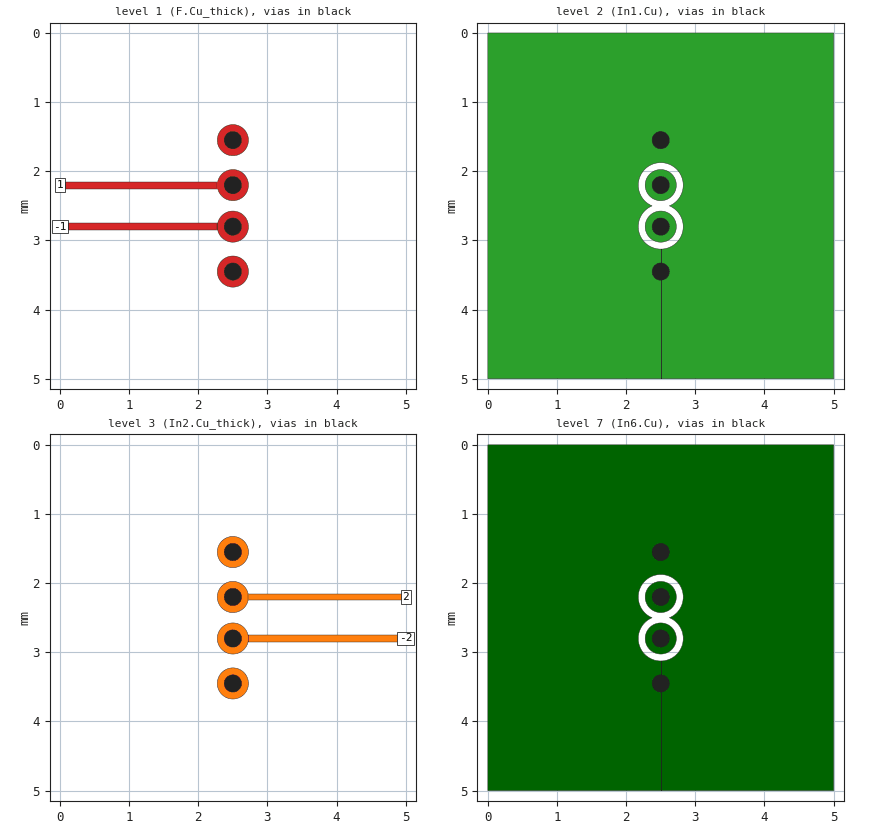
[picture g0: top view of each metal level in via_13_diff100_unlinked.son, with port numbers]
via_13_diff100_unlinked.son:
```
FTYP SONPROJ 19 ! Sonnet Project File
VER 18.52
HEADER
LIC antikernel2.1.51176
DAT 02/26/2022 12:10:18
BUILT_BY_CREATED xgeom 18.52 11/18/2021 20:28:07
BUILT_BY_SAVED sonnet 18.52
MDATE 02/26/2022 12:10:18
HDATE 02/26/2022 12:10:18
END HEADER
DIM
ANG DEG
CAP PF
CON /OH
FREQ GHZ
IND NH
LNG MM
RES OH
END DIM
CONTROL
VARSWP
OPTIONS  -dj
SPEED 1
CACHE_ABS 2
Q_ACC N
END CONTROL
GEO
DRP1 LEFT LINK
POLY 357 1
0
DRP1 RIGHT LINK
POLY 361 1
0
TMET "Free Space" 0 FREESPACE 376.7303136 0 0 0
BMET "Free Space" 0 FREESPACE 376.7303136 0 0 0
MET "Copper_1oz_thin" 1 NOR 58000000 0.5 0.035 
MET "Copper_1oz_thick" 2 TMM 58000000 0.5 0.035 2
MET "Copper_1oz_thick_down" 3 TMM 58000000 0.5 0.035 2 CDVY TDWN
MET "Copper_0.5oz_thin" 4 NOR 58000000 0.5 0.017 
MET "Copper_0.5oz_thick" 12 TMM 58000000 0.5 0.017 2
MET "Copper_0.5oz_thick_down" 5 TMM 58000000 0.5 0.017 2 CDVY TDWN
BOX 10 5 5 1000 1000 20 0
      5 1 1 0 0 0 0 "Air"
      0.04 3.5 1 0.025 0 0 0 "Soldermask"
      0.075 3.9 1 0.008 0 0 0 "TU-872_SLK"
      0.1 3.9 1 0.008 0 0 0 "TU-872_SLK"
      0.143 3.9 1 0.008 0 0 0 "TU-872_SLK"
      0.7 4.49 1 0.016 0 0 0 "Shengyi_S1000-2M"
      0.143 3.9 1 0.008 0 0 0 "TU-872_SLK"
      0.1 3.9 1 0.008 0 0 0 "TU-872_SLK"
      0.075 3.9 1 0.008 0 0 0 "TU-872_SLK"
      0.04 3.5 1 0.025 0 0 0 "Soldermask"
      5 1 1 0 0 0 0 "Air"
TECHLAY METAL F.Cu_thin <UNSPECIFIED> -1 0 CAD F.Cu_thin drawing 
1 0 0 N 557 1 1 100 100 0 0 0 Y
END
END
TECHLAY METAL F.Cu_thick <UNSPECIFIED> -2 0 CAD F.Cu_thick drawing 
1 0 1 N 559 1 1 100 100 0 0 0 Y
END
END
TECHLAY VIA Via1 <UNSPECIFIED> -13 0 CAD Via1 drawing 
VIA POLYGON
1 0 -1 N 563 1 1 100 100 0 0 0 Y
TOLEVEL 8 RING NOCOVERS
END
END
TECHLAY METAL In1.Cu <UNSPECIFIED> -3 0 CAD In1.Cu drawing 
2 0 0 N 566 1 1 100 100 0 0 0 Y
END
END
TECHLAY METAL In2.Cu_thin <UNSPECIFIED> -4 0 CAD In2.Cu drawing 
3 0 3 N 569 1 1 100 100 0 0 0 Y
END
END
TECHLAY METAL In2.Cu_thick <UNSPECIFIED> -5 0 CAD In2.Cu_thick drawing 
3 0 4 N 571 1 1 100 100 0 0 0 Y
END
END
TECHLAY METAL In3.Cu <UNSPECIFIED> -6 0 CAD In3.Cu drawing 
4 0 0 N 576 1 1 100 100 0 0 0 Y
END
END
TECHLAY METAL In4.Cu <UNSPECIFIED> -7 0 CAD In4.Cu drawing 
5 0 0 N 581 1 1 100 100 0 0 0 Y
END
END
TECHLAY METAL In5.Cu_thin <UNSPECIFIED> -8 0 CAD In5.Cu drawing 
6 0 3 N 584 1 1 100 100 0 0 0 Y
END
END
TECHLAY METAL In5.Cu_thick <UNSPECIFIED> -9 0 CAD In5.Cu_thick drawing 
6 0 5 N 586 1 1 100 100 0 0 0 Y
END
END
TECHLAY METAL In6.Cu <UNSPECIFIED> -10 0 CAD In6.Cu drawing 
7 0 0 N 589 1 1 100 100 0 0 0 Y
END
END
TECHLAY METAL B.Cu_thin <UNSPECIFIED> -11 0 CAD B.Cu_thin drawing 
8 0 0 N 592 1 1 100 100 0 0 0 Y
END
END
TECHLAY METAL B.Cu_thick <UNSPECIFIED> -12 0 CAD B.Cu_thick drawing 
8 0 2 N 594 1 1 100 100 0 0 0 Y
END
END
VALVAR CORE_ER NONE "table1(\"core_er.csv\",FREQ)" "Variable set in material file"
VALVAR CORE_DF NONE "table1(\"core_df.csv\",FREQ)" "Variable set in material file"
VALVAR PREPREG_DF NONE "table1(\"prepreg_df.csv\",FREQ)" "Variable set in material file"
VALVAR PREPREG_ER NONE "table1(\"prepreg_er.csv\",FREQ)" "Variable set in material file"
DIM STD YDIR 1
POS -0.07303945927 0.352744628
NOM 0.5
REF1 POLY 201 1
2
REF2 POLY 461 1
2
END
DIM STD YDIR 1
POS -0.1576084171 0.3411855772
NOM 0.7
REF1 POLY 201 1
1
REF2 POLY 461 1
1
END
LORGN 0 5 U 
POR1 BOX
POLY 357 1
2
1 100 0 0 0 0 2.2 
POR1 BOX
POLY 456 1
2
-1 100 0 0 0 0 2.8 
POR1 BOX
POLY 468 1
2
-2 100 0 0 0 5 2.8 
POR1 BOX
POLY 361 1
2
2 100 0 0 0 5 2.2 
NUM 26
1 102 1 N 237 1 1 100 100 0 0 0 Y
TLAYNAM F.Cu_thick INH
2.725 2.20707091
2.724112028 2.221184824
2.722339588 2.235215131
2.719689675 2.24910646
2.716172747 2.262803989
2.711802685 2.276253659
2.706596734 2.28940239
2.70057544 2.302198291
2.693762566 2.314590862
2.686185 2.326531196
2.677872647 2.337972168
2.668858312 2.348868627
2.65917757 2.35917757
2.648868627 2.368858312
2.637972168 2.377872647
2.626531196 2.386185
2.614590862 2.393762566
2.602198291 2.40057544
2.58940239 2.406596734
2.576253659 2.411802685
2.562803989 2.416172747
2.54910646 2.419689675
2.535215131 2.422339588
2.521184824 2.424112028
2.50707091 2.425
2.49292909 2.425
2.478815176 2.424112028
2.464784869 2.422339588
2.45089354 2.419689675
2.437196011 2.416172747
2.423746341 2.411802685
2.41059761 2.406596734
2.397801709 2.40057544
2.385409138 2.393762566
2.373468804 2.386185
2.362027832 2.377872647
2.351131373 2.368858312
2.34082243 2.35917757
2.331141688 2.348868627
2.322127353 2.337972168
2.313815 2.326531196
2.306237434 2.314590862
2.29942456 2.302198291
2.293403266 2.28940239
2.288197315 2.276253659
2.283827253 2.262803989
2.280310325 2.24910646
2.277660412 2.235215131
2.275887972 2.221184824
2.275 2.20707091
2.275 2.19292909
2.275887972 2.178815176
2.277660412 2.164784869
2.280310325 2.15089354
2.283827253 2.137196011
2.288197315 2.123746341
2.293403266 2.11059761
2.29942456 2.097801709
2.306237434 2.085409138
2.313815 2.073468804
2.322127353 2.062027832
2.331141688 2.051131373
2.34082243 2.04082243
2.351131373 2.031141688
2.362027832 2.022127353
2.373468804 2.013815
2.385409138 2.006237434
2.397801709 1.99942456
2.41059761 1.993403266
2.423746341 1.988197315
2.437196011 1.983827253
2.45089354 1.980310325
2.464784869 1.977660412
2.478815176 1.975887972
2.49292909 1.975
2.50707091 1.975
2.521184824 1.975887972
2.535215131 1.977660412
2.54910646 1.980310325
2.562803989 1.983827253
2.576253659 1.988197315
2.58940239 1.993403266
2.602198291 1.99942456
2.614590862 2.006237434
2.626531196 2.013815
2.637972168 2.022127353
2.648868627 2.031141688
2.65917757 2.04082243
2.668858312 2.051131373
2.677872647 2.062027832
2.686185 2.073468804
2.693762566 2.085409138
2.70057544 2.097801709
2.706596734 2.11059761
2.711802685 2.123746341
2.716172747 2.137196011
2.719689675 2.15089354
2.722339588 2.164784869
2.724112028 2.178815176
2.725 2.19292909
2.725 2.20707091
2.725 2.20707091
END
1 5 1 N 357 1 1 100 100 0 0 0 Y
TLAYNAM F.Cu_thick INH
2.275 2.25
2.275 2.15
0 2.15
0 2.25
2.275 2.25
END
1 5 1 N 461 1 1 100 100 0 0 0 Y
TLAYNAM F.Cu_thick INH
2.275 2.85
2.36 2.85
2.36 2.75
2.275 2.75
2.275 2.85
END
1 102 1 N 460 1 1 100 100 0 0 0 Y
TLAYNAM F.Cu_thick INH
2.725 3.442929
2.724112 3.428815
2.72234 3.414785
2.71969 3.400894
2.716173 3.387196
2.711803 3.373746
2.706597 3.360598
2.700575 3.347802
2.693763 3.335409
2.686185 3.323469
2.677873 3.312028
2.668858 3.301131
2.659178 3.290822
2.648869 3.281142
2.637972 3.272127
2.626531 3.263815
2.614591 3.256237
2.602198 3.249425
2.589402 3.243403
2.576254 3.238197
2.562804 3.233827
2.549106 3.23031
2.535215 3.22766
2.521185 3.225888
2.507071 3.225
2.492929 3.225
2.478815 3.225888
2.464785 3.22766
2.450894 3.23031
2.437196 3.233827
2.423746 3.238197
2.410598 3.243403
2.397802 3.249425
2.385409 3.256237
2.373469 3.263815
2.362028 3.272127
2.351131 3.281142
2.340822 3.290822
2.331142 3.301131
2.322127 3.312028
2.313815 3.323469
2.306237 3.335409
2.299425 3.347802
2.293403 3.360598
2.288197 3.373746
2.283827 3.387196
2.28031 3.400894
2.27766 3.414785
2.275888 3.428815
2.275 3.442929
2.275 3.457071
2.275888 3.471185
2.27766 3.485215
2.28031 3.499106
2.283827 3.512804
2.288197 3.526254
2.293403 3.539402
2.299425 3.552198
2.306237 3.564591
2.313815 3.576531
2.322127 3.587972
2.331142 3.598869
2.340822 3.609178
2.351131 3.618858
2.362028 3.627873
2.373469 3.636185
2.385409 3.643763
2.397802 3.650575
2.410598 3.656597
2.423746 3.661803
2.437196 3.666173
2.450894 3.66969
2.464785 3.67234
2.478815 3.674112
2.492929 3.675
2.507071 3.675
2.521185 3.674112
2.535215 3.67234
2.549106 3.66969
2.562804 3.666173
2.576254 3.661803
2.589402 3.656597
2.602198 3.650575
2.614591 3.643763
2.626531 3.636185
2.637972 3.627873
2.648869 3.618858
2.659178 3.609178
2.668858 3.598869
2.677873 3.587972
2.686185 3.576531
2.693763 3.564591
2.700575 3.552198
2.706597 3.539402
2.711803 3.526254
2.716173 3.512804
2.71969 3.499106
2.72234 3.485215
2.724112 3.471185
2.725 3.457071
2.725 3.442929
2.725 3.442929
END
1 5 1 N 201 1 1 100 100 0 0 0 Y
TLAYNAM F.Cu_thick INH
2.275 2.15
2.36 2.15
2.36 2.25
2.275 2.25
2.275 2.15
END
1 102 1 N 457 1 1 100 100 0 0 0 Y
TLAYNAM F.Cu_thick INH
2.725 2.792929
2.724112 2.778815
2.72234 2.764785
2.71969 2.750894
2.716173 2.737196
2.711803 2.723746
2.706597 2.710598
2.700575 2.697802
2.693763 2.685409
2.686185 2.673469
2.677873 2.662028
2.668858 2.651131
2.659178 2.640822
2.648869 2.631142
2.637972 2.622127
2.626531 2.613815
2.614591 2.606237
2.602198 2.599425
2.589402 2.593403
2.576254 2.588197
2.562804 2.583827
2.549106 2.58031
2.535215 2.57766
2.521185 2.575888
2.507071 2.575
2.492929 2.575
2.478815 2.575888
2.464785 2.57766
2.450894 2.58031
2.437196 2.583827
2.423746 2.588197
2.410598 2.593403
2.397802 2.599425
2.385409 2.606237
2.373469 2.613815
2.362028 2.622127
2.351131 2.631142
2.340822 2.640822
2.331142 2.651131
2.322127 2.662028
2.313815 2.673469
2.306237 2.685409
2.299425 2.697802
2.293403 2.710598
2.288197 2.723746
2.283827 2.737196
2.28031 2.750894
2.27766 2.764785
2.275888 2.778815
2.275 2.792929
2.275 2.807071
2.275888 2.821185
2.27766 2.835215
2.28031 2.849106
2.283827 2.862804
2.288197 2.876254
2.293403 2.889402
2.299425 2.902198
2.306237 2.914591
2.313815 2.926531
2.322127 2.937972
2.331142 2.948869
2.340822 2.959178
2.351131 2.968858
2.362028 2.977873
2.373469 2.986185
2.385409 2.993763
2.397802 3.000575
2.410598 3.006597
2.423746 3.011803
2.437196 3.016173
2.450894 3.01969
2.464785 3.02234
2.478815 3.024112
2.492929 3.025
2.507071 3.025
2.521185 3.024112
2.535215 3.02234
2.549106 3.01969
2.562804 3.016173
2.576254 3.011803
2.589402 3.006597
2.602198 3.000575
2.614591 2.993763
2.626531 2.986185
2.637972 2.977873
2.648869 2.968858
2.659178 2.959178
2.668858 2.948869
2.677873 2.937972
2.686185 2.926531
2.693763 2.914591
2.700575 2.902198
2.706597 2.889402
2.711803 2.876254
2.716173 2.862804
2.71969 2.849106
2.72234 2.835215
2.724112 2.821185
2.725 2.807071
2.725 2.792929
2.725 2.792929
END
1 102 1 N 385 1 1 100 100 0 0 0 Y
TLAYNAM F.Cu_thick INH
2.725 1.55707091
2.724112028 1.571184824
2.722339588 1.585215131
2.719689675 1.59910646
2.716172747 1.612803989
2.711802685 1.626253659
2.706596734 1.63940239
2.70057544 1.652198291
2.693762566 1.664590862
2.686185 1.676531196
2.677872647 1.687972168
2.668858312 1.698868627
2.65917757 1.70917757
2.648868627 1.718858312
2.637972168 1.727872647
2.626531196 1.736185
2.614590862 1.743762566
2.602198291 1.75057544
2.58940239 1.756596734
2.576253659 1.761802685
2.562803989 1.766172747
2.54910646 1.769689675
2.535215131 1.772339588
2.521184824 1.774112028
2.50707091 1.775
2.49292909 1.775
2.478815176 1.774112028
2.464784869 1.772339588
2.45089354 1.769689675
2.437196011 1.766172747
2.423746341 1.761802685
2.41059761 1.756596734
2.397801709 1.75057544
2.385409138 1.743762566
2.373468804 1.736185
2.362027832 1.727872647
2.351131373 1.718858312
2.34082243 1.70917757
2.331141688 1.698868627
2.322127353 1.687972168
2.313815 1.676531196
2.306237434 1.664590862
2.29942456 1.652198291
2.293403266 1.63940239
2.288197315 1.626253659
2.283827253 1.612803989
2.280310325 1.59910646
2.277660412 1.585215131
2.275887972 1.571184824
2.275 1.55707091
2.275 1.54292909
2.275887972 1.528815176
2.277660412 1.514784869
2.280310325 1.50089354
2.283827253 1.487196011
2.288197315 1.473746341
2.293403266 1.46059761
2.29942456 1.447801709
2.306237434 1.435409138
2.313815 1.423468804
2.322127353 1.412027832
2.331141688 1.401131373
2.34082243 1.39082243
2.351131373 1.381141688
2.362027832 1.372127353
2.373468804 1.363815
2.385409138 1.356237434
2.397801709 1.34942456
2.41059761 1.343403266
2.423746341 1.338197315
2.437196011 1.333827253
2.45089354 1.330310325
2.464784869 1.327660412
2.478815176 1.325887972
2.49292909 1.325
2.50707091 1.325
2.521184824 1.325887972
2.535215131 1.327660412
2.54910646 1.330310325
2.562803989 1.333827253
2.576253659 1.338197315
2.58940239 1.343403266
2.602198291 1.34942456
2.614590862 1.356237434
2.626531196 1.363815
2.637972168 1.372127353
2.648868627 1.381141688
2.65917757 1.39082243
2.668858312 1.401131373
2.677872647 1.412027832
2.686185 1.423468804
2.693762566 1.435409138
2.70057544 1.447801709
2.706596734 1.46059761
2.711802685 1.473746341
2.716172747 1.487196011
2.719689675 1.50089354
2.722339588 1.514784869
2.724112028 1.528815176
2.725 1.54292909
2.725 1.55707091
2.725 1.55707091
END
1 5 1 N 456 1 1 100 100 0 0 0 Y
TLAYNAM F.Cu_thick INH
2.275 2.75
2.275 2.85
0 2.85
0 2.75
2.275 2.75
END
VIA POLYGON
1 101 -1 N 239 1 1 100 100 0 0 0 Y
TOLEVEL 8 RING NOCOVERS
TLAYNAM Via1 INH
2.625 2.203928283
2.624506682 2.211769347
2.623521993 2.219563962
2.622049819 2.227281367
2.620095971 2.234891105
2.617668158 2.242363144
2.614775963 2.249667994
2.6114308 2.256776828
2.60764587 2.26366159
2.603436111 2.270295109
2.598818137 2.276651204
2.593810173 2.282704793
2.588431983 2.288431983
2.582704793 2.293810173
2.576651204 2.298818137
2.570295109 2.303436111
2.56366159 2.30764587
2.556776828 2.3114308
2.549667994 2.314775963
2.542363144 2.317668158
2.534891105 2.320095971
2.527281367 2.322049819
2.519563962 2.323521993
2.511769347 2.324506682
2.503928283 2.325
2.496071717 2.325
2.488230653 2.324506682
2.480436038 2.323521993
2.472718633 2.322049819
2.465108895 2.320095971
2.457636856 2.317668158
2.450332006 2.314775963
2.443223172 2.3114308
2.43633841 2.30764587
2.429704891 2.303436111
2.423348796 2.298818137
2.417295207 2.293810173
2.411568017 2.288431983
2.406189827 2.282704793
2.401181863 2.276651204
2.396563889 2.270295109
2.39235413 2.26366159
2.3885692 2.256776828
2.385224037 2.249667994
2.382331842 2.242363144
2.379904029 2.234891105
2.377950181 2.227281367
2.376478007 2.219563962
2.375493318 2.211769347
2.375 2.203928283
2.375 2.196071717
2.375493318 2.188230653
2.376478007 2.180436038
2.377950181 2.172718633
2.379904029 2.165108895
2.382331842 2.157636856
2.385224037 2.150332006
2.3885692 2.143223172
2.39235413 2.13633841
2.396563889 2.129704891
2.401181863 2.123348796
2.406189827 2.117295207
2.411568017 2.111568017
2.417295207 2.106189827
2.423348796 2.101181863
2.429704891 2.096563889
2.43633841 2.09235413
2.443223172 2.0885692
2.450332006 2.085224037
2.457636856 2.082331842
2.465108895 2.079904029
2.472718633 2.077950181
2.480436038 2.076478007
2.488230653 2.075493318
2.496071717 2.075
2.503928283 2.075
2.511769347 2.075493318
2.519563962 2.076478007
2.527281367 2.077950181
2.534891105 2.079904029
2.542363144 2.082331842
2.549667994 2.085224037
2.556776828 2.0885692
2.56366159 2.09235413
2.570295109 2.096563889
2.576651204 2.101181863
2.582704793 2.106189827
2.588431983 2.111568017
2.593810173 2.117295207
2.598818137 2.123348796
2.603436111 2.129704891
2.60764587 2.13633841
2.6114308 2.143223172
2.614775963 2.150332006
2.617668158 2.157636856
2.620095971 2.165108895
2.622049819 2.172718633
2.623521993 2.180436038
2.624506682 2.188230653
2.625 2.196071717
2.625 2.203928283
END
VIA POLYGON
1 101 -1 N 384 1 1 100 100 0 0 0 Y
TOLEVEL 8 RING NOCOVERS
TLAYNAM Via1 INH
2.625 1.553928
2.624507 1.561769
2.623522 1.569564
2.62205 1.577281
2.620096 1.584891
2.617668 1.592363
2.614776 1.599668
2.611431 1.606777
2.607646 1.613662
2.603436 1.620295
2.598818 1.626651
2.59381 1.632705
2.588432 1.638432
2.582705 1.64381
2.576651 1.648818
2.570295 1.653436
2.563662 1.657646
2.556777 1.661431
2.549668 1.664776
2.542363 1.667668
2.534891 1.670096
2.527281 1.67205
2.519564 1.673522
2.511769 1.674507
2.503928 1.675
2.496072 1.675
2.488231 1.674507
2.480436 1.673522
2.472719 1.67205
2.465109 1.670096
2.457637 1.667668
2.450332 1.664776
2.443223 1.661431
2.436338 1.657646
2.429705 1.653436
2.423349 1.648818
2.417295 1.64381
2.411568 1.638432
2.40619 1.632705
2.401182 1.626651
2.396564 1.620295
2.392354 1.613662
2.388569 1.606777
2.385224 1.599668
2.382332 1.592363
2.379904 1.584891
2.37795 1.577281
2.376478 1.569564
2.375493 1.561769
2.375 1.553928
2.375 1.546072
2.375493 1.538231
2.376478 1.530436
2.37795 1.522719
2.379904 1.515109
2.382332 1.507637
2.385224 1.500332
2.388569 1.493223
2.392354 1.486338
2.396564 1.479705
2.401182 1.473349
2.40619 1.467295
2.411568 1.461568
2.417295 1.45619
2.423349 1.451182
2.429705 1.446564
2.436338 1.442354
2.443223 1.438569
2.450332 1.435224
2.457637 1.432332
2.465109 1.429904
2.472719 1.42795
2.480436 1.426478
2.488231 1.425493
2.496072 1.425
2.503928 1.425
2.511769 1.425493
2.519564 1.426478
2.527281 1.42795
2.534891 1.429904
2.542363 1.432332
2.549668 1.435224
2.556777 1.438569
2.563662 1.442354
2.570295 1.446564
2.576651 1.451182
2.582705 1.45619
2.588432 1.461568
2.59381 1.467295
2.598818 1.473349
2.603436 1.479705
2.607646 1.486338
2.611431 1.493223
2.614776 1.500332
2.617668 1.507637
2.620096 1.515109
2.62205 1.522719
2.623522 1.530436
2.624507 1.538231
2.625 1.546072
2.625 1.553928
END
VIA POLYGON
1 101 -1 N 458 1 1 100 100 0 0 0 Y
TOLEVEL 8 RING NOCOVERS
TLAYNAM Via1 INH
2.625 2.796072
2.624507 2.788231
2.623522 2.780436
2.62205 2.772719
2.620096 2.765109
2.617668 2.757637
2.614776 2.750332
2.611431 2.743223
2.607646 2.736338
2.603436 2.729705
2.598818 2.723349
2.59381 2.717295
2.588432 2.711568
2.582705 2.70619
2.576651 2.701182
2.570295 2.696564
2.563662 2.692354
2.556777 2.688569
2.549668 2.685224
2.542363 2.682332
2.534891 2.679904
2.527281 2.67795
2.519564 2.676478
2.511769 2.675493
2.503928 2.675
2.496072 2.675
2.488231 2.675493
2.480436 2.676478
2.472719 2.67795
2.465109 2.679904
2.457637 2.682332
2.450332 2.685224
2.443223 2.688569
2.436338 2.692354
2.429705 2.696564
2.423349 2.701182
2.417295 2.70619
2.411568 2.711568
2.40619 2.717295
2.401182 2.723349
2.396564 2.729705
2.392354 2.736338
2.388569 2.743223
2.385224 2.750332
2.382332 2.757637
2.379904 2.765109
2.37795 2.772719
2.376478 2.780436
2.375493 2.788231
2.375 2.796072
2.375 2.803928
2.375493 2.811769
2.376478 2.819564
2.37795 2.827281
2.379904 2.834891
2.382332 2.842363
2.385224 2.849668
2.388569 2.856777
2.392354 2.863662
2.396564 2.870295
2.401182 2.876651
2.40619 2.882705
2.411568 2.888432
2.417295 2.89381
2.423349 2.898818
2.429705 2.903436
2.436338 2.907646
2.443223 2.911431
2.450332 2.914776
2.457637 2.917668
2.465109 2.920096
2.472719 2.92205
2.480436 2.923522
2.488231 2.924507
2.496072 2.925
2.503928 2.925
2.511769 2.924507
2.519564 2.923522
2.527281 2.92205
2.534891 2.920096
2.542363 2.917668
2.549668 2.914776
2.556777 2.911431
2.563662 2.907646
2.570295 2.903436
2.576651 2.898818
2.582705 2.89381
2.588432 2.888432
2.59381 2.882705
2.598818 2.876651
2.603436 2.870295
2.607646 2.863662
2.611431 2.856777
2.614776 2.849668
2.617668 2.842363
2.620096 2.834891
2.62205 2.827281
2.623522 2.819564
2.624507 2.811769
2.625 2.803928
2.625 2.796072
END
VIA POLYGON
1 101 -1 N 459 1 1 100 100 0 0 0 Y
TOLEVEL 8 RING NOCOVERS
TLAYNAM Via1 INH
2.625 3.446072
2.624507 3.438231
2.623522 3.430436
2.62205 3.422719
2.620096 3.415109
2.617668 3.407637
2.614776 3.400332
2.611431 3.393223
2.607646 3.386338
2.603436 3.379705
2.598818 3.373349
2.59381 3.367295
2.588432 3.361568
2.582705 3.35619
2.576651 3.351182
2.570295 3.346564
2.563662 3.342354
2.556777 3.338569
2.549668 3.335224
2.542363 3.332332
2.534891 3.329904
2.527281 3.32795
2.519564 3.326478
2.511769 3.325493
2.503928 3.325
2.496072 3.325
2.488231 3.325493
2.480436 3.326478
2.472719 3.32795
2.465109 3.329904
2.457637 3.332332
2.450332 3.335224
2.443223 3.338569
2.436338 3.342354
2.429705 3.346564
2.423349 3.351182
2.417295 3.35619
2.411568 3.361568
2.40619 3.367295
2.401182 3.373349
2.396564 3.379705
2.392354 3.386338
2.388569 3.393223
2.385224 3.400332
2.382332 3.407637
2.379904 3.415109
2.37795 3.422719
2.376478 3.430436
2.375493 3.438231
2.375 3.446072
2.375 3.453928
2.375493 3.461769
2.376478 3.469564
2.37795 3.477281
2.379904 3.484891
2.382332 3.492363
2.385224 3.499668
2.388569 3.506777
2.392354 3.513662
2.396564 3.520295
2.401182 3.526651
2.40619 3.532705
2.411568 3.538432
2.417295 3.54381
2.423349 3.548818
2.429705 3.553436
2.436338 3.557646
2.443223 3.561431
2.450332 3.564776
2.457637 3.567668
2.465109 3.570096
2.472719 3.57205
2.480436 3.573522
2.488231 3.574507
2.496072 3.575
2.503928 3.575
2.511769 3.574507
2.519564 3.573522
2.527281 3.57205
2.534891 3.570096
2.542363 3.567668
2.549668 3.564776
2.556777 3.561431
2.563662 3.557646
2.570295 3.553436
2.576651 3.548818
2.582705 3.54381
2.588432 3.538432
2.59381 3.532705
2.598818 3.526651
2.603436 3.520295
2.607646 3.513662
2.611431 3.506777
2.614776 3.499668
2.617668 3.492363
2.620096 3.484891
2.62205 3.477281
2.623522 3.469564
2.624507 3.461769
2.625 3.453928
2.625 3.446072
END
2 102 0 N 471 1 1 100 100 0 0 0 Y
TLAYNAM In1.Cu INH
2.725 2.20707091
2.724112028 2.221184824
2.722339588 2.235215131
2.719689675 2.24910646
2.716172747 2.262803989
2.711802685 2.276253659
2.706596734 2.28940239
2.70057544 2.302198291
2.693762566 2.314590862
2.686185 2.326531196
2.677872647 2.337972168
2.668858312 2.348868627
2.65917757 2.35917757
2.648868627 2.368858312
2.637972168 2.377872647
2.626531196 2.386185
2.614590862 2.393762566
2.602198291 2.40057544
2.58940239 2.406596734
2.576253659 2.411802685
2.562803989 2.416172747
2.54910646 2.419689675
2.535215131 2.422339588
2.521184824 2.424112028
2.50707091 2.425
2.49292909 2.425
2.478815176 2.424112028
2.464784869 2.422339588
2.45089354 2.419689675
2.437196011 2.416172747
2.423746341 2.411802685
2.41059761 2.406596734
2.397801709 2.40057544
2.385409138 2.393762566
2.373468804 2.386185
2.362027832 2.377872647
2.351131373 2.368858312
2.34082243 2.35917757
2.331141688 2.348868627
2.322127353 2.337972168
2.313815 2.326531196
2.306237434 2.314590862
2.29942456 2.302198291
2.293403266 2.28940239
2.288197315 2.276253659
2.283827253 2.262803989
2.280310325 2.24910646
2.277660412 2.235215131
2.275887972 2.221184824
2.275 2.20707091
2.275 2.19292909
2.275887972 2.178815176
2.277660412 2.164784869
2.280310325 2.15089354
2.283827253 2.137196011
2.288197315 2.123746341
2.293403266 2.11059761
2.29942456 2.097801709
2.306237434 2.085409138
2.313815 2.073468804
2.322127353 2.062027832
2.331141688 2.051131373
2.34082243 2.04082243
2.351131373 2.031141688
2.362027832 2.022127353
2.373468804 2.013815
2.385409138 2.006237434
2.397801709 1.99942456
2.41059761 1.993403266
2.423746341 1.988197315
2.437196011 1.983827253
2.45089354 1.980310325
2.464784869 1.977660412
2.478815176 1.975887972
2.49292909 1.975
2.50707091 1.975
2.521184824 1.975887972
2.535215131 1.977660412
2.54910646 1.980310325
2.562803989 1.983827253
2.576253659 1.988197315
2.58940239 1.993403266
2.602198291 1.99942456
2.614590862 2.006237434
2.626531196 2.013815
2.637972168 2.022127353
2.648868627 2.031141688
2.65917757 2.04082243
2.668858312 2.051131373
2.677872647 2.062027832
2.686185 2.073468804
2.693762566 2.085409138
2.70057544 2.097801709
2.706596734 2.11059761
2.711802685 2.123746341
2.716172747 2.137196011
2.719689675 2.15089354
2.722339588 2.164784869
2.724112028 2.178815176
2.725 2.19292909
2.725 2.20707091
2.725 2.20707091
END
2 102 0 N 472 1 1 100 100 0 0 0 Y
TLAYNAM In1.Cu INH
2.725 2.792929
2.724112 2.778815
2.72234 2.764785
2.71969 2.750894
2.716173 2.737196
2.711803 2.723746
2.706597 2.710598
2.700575 2.697802
2.693763 2.685409
2.686185 2.673469
2.677873 2.662028
2.668858 2.651131
2.659178 2.640822
2.648869 2.631142
2.637972 2.622127
2.626531 2.613815
2.614591 2.606237
2.602198 2.599425
2.589402 2.593403
2.576254 2.588197
2.562804 2.583827
2.549106 2.58031
2.535215 2.57766
2.521185 2.575888
2.507071 2.575
2.492929 2.575
2.478815 2.575888
2.464785 2.57766
2.450894 2.58031
2.437196 2.583827
2.423746 2.588197
2.410598 2.593403
2.397802 2.599425
2.385409 2.606237
2.373469 2.613815
2.362028 2.622127
2.351131 2.631142
2.340822 2.640822
2.331142 2.651131
2.322127 2.662028
2.313815 2.673469
2.306237 2.685409
2.299425 2.697802
2.293403 2.710598
2.288197 2.723746
2.283827 2.737196
2.28031 2.750894
2.27766 2.764785
2.275888 2.778815
2.275 2.792929
2.275 2.807071
2.275888 2.821185
2.27766 2.835215
2.28031 2.849106
2.283827 2.862804
2.288197 2.876254
2.293403 2.889402
2.299425 2.902198
2.306237 2.914591
2.313815 2.926531
2.322127 2.937972
2.331142 2.948869
2.340822 2.959178
2.351131 2.968858
2.362028 2.977873
2.373469 2.986185
2.385409 2.993763
2.397802 3.000575
2.410598 3.006597
2.423746 3.011803
2.437196 3.016173
2.450894 3.01969
2.464785 3.02234
2.478815 3.024112
2.492929 3.025
2.507071 3.025
2.521185 3.024112
2.535215 3.02234
2.549106 3.01969
2.562804 3.016173
2.576254 3.011803
2.589402 3.006597
2.602198 3.000575
2.614591 2.993763
2.626531 2.986185
2.637972 2.977873
2.648869 2.968858
2.659178 2.959178
2.668858 2.948869
2.677873 2.937972
2.686185 2.926531
2.693763 2.914591
2.700575 2.902198
2.706597 2.889402
2.711803 2.876254
2.716173 2.862804
2.71969 2.849106
2.72234 2.835215
2.724112 2.821185
2.725 2.807071
2.725 2.792929
2.725 2.792929
END
2 186 0 N 477 1 1 100 100 0 0 0 Y
TLAYNAM In1.Cu INH
5 0
0 0
0 5
2.510213536 5
2.510213536 3.125
2.489786464 3.125
2.469399699 3.123717373
2.449133699 3.121157182
2.429068446 3.117329531
2.409283127 3.112249524
2.389855826 3.105937211
2.370863214 3.098417504
2.352380246 3.08972008
2.334479866 3.079879262
2.317232718 3.068933889
2.300706868 3.056927157
2.284967538 3.043906451
2.270076843 3.029923157
2.256093549 3.015032462
2.243072843 2.999293132
2.231066111 2.982767282
2.220120738 2.965520134
2.21027992 2.947619754
2.201582496 2.929136786
2.194062789 2.910144174
2.187750476 2.890716873
2.182670469 2.870931554
2.178842818 2.850866301
2.176282627 2.830600301
2.175 2.810213536
2.175 2.789786464
2.176282627 2.769399699
2.178842818 2.749133699
2.182670469 2.729068446
2.187750476 2.709283127
2.194062789 2.689855826
2.201582496 2.670863214
2.21027992 2.652380246
2.220120738 2.634479866
2.231066111 2.617232718
2.243072843 2.600706868
2.256093549 2.584967538
2.270076843 2.570076843
2.284967538 2.556093549
2.300706868 2.543072843
2.317232718 2.531066111
2.334479866 2.520120738
2.352380246 2.51027992
2.370863214 2.501582496
2.374860142 2.5
2.370863214 2.498417504
2.352380246 2.48972008
2.334479866 2.479879262
2.317232718 2.468933889
2.300706868 2.456927157
2.284967538 2.443906451
2.270076843 2.429923157
2.256093549 2.415032462
2.243072843 2.399293132
2.231066111 2.382767282
2.220120738 2.365520134
2.21027992 2.347619754
2.201582496 2.329136786
2.194062789 2.310144174
2.187750476 2.290716873
2.182670469 2.270931554
2.178842818 2.250866301
2.176282627 2.230600301
2.175 2.210213536
2.175 2.189786464
2.176282627 2.169399699
2.178842818 2.149133699
2.182670469 2.129068446
2.187750476 2.109283127
2.194062789 2.089855826
2.201582496 2.070863214
2.21027992 2.052380246
2.220120738 2.034479866
2.231066111 2.017232718
2.243072843 2.000706868
2.256093549 1.984967538
2.270076843 1.970076843
2.284967538 1.956093549
2.300706868 1.943072843
2.317232718 1.931066111
2.334479866 1.920120738
2.352380246 1.91027992
2.370863214 1.901582496
2.389855826 1.894062789
2.409283127 1.887750476
2.429068446 1.882670469
2.449133699 1.878842818
2.469399699 1.876282627
2.489786464 1.875
2.510213536 1.875
2.530600301 1.876282627
2.550866301 1.878842818
2.570931554 1.882670469
2.590716873 1.887750476
2.610144174 1.894062789
2.629136786 1.901582496
2.647619754 1.91027992
2.665520134 1.920120738
2.682767282 1.931066111
2.699293132 1.943072843
2.715032462 1.956093549
2.729923157 1.970076843
2.743906451 1.984967538
2.756927157 2.000706868
2.768933889 2.017232718
2.779879262 2.034479866
2.78972008 2.052380246
2.798417504 2.070863214
2.805937211 2.089855826
2.812249524 2.109283127
2.817329531 2.129068446
2.821157182 2.149133699
2.823717373 2.169399699
2.825 2.189786464
2.825 2.210213536
2.823717373 2.230600301
2.821157182 2.250866301
2.817329531 2.270931554
2.812249524 2.290716873
2.805937211 2.310144174
2.798417504 2.329136786
2.78972008 2.347619754
2.779879262 2.365520134
2.768933889 2.382767282
2.756927157 2.399293132
2.743906451 2.415032462
2.729923157 2.429923157
2.715032462 2.443906451
2.699293132 2.456927157
2.682767282 2.468933889
2.665520134 2.479879262
2.647619754 2.48972008
2.629136786 2.498417504
2.625139858 2.5
2.629136786 2.501582496
2.647619754 2.51027992
2.665520134 2.520120738
2.682767282 2.531066111
2.699293132 2.543072843
2.715032462 2.556093549
2.729923157 2.570076843
2.743906451 2.584967538
2.756927157 2.600706868
2.768933889 2.617232718
2.779879262 2.634479866
2.78972008 2.652380246
2.798417504 2.670863214
2.805937211 2.689855826
2.812249524 2.709283127
2.817329531 2.729068446
2.821157182 2.749133699
2.823717373 2.769399699
2.825 2.789786464
2.825 2.810213536
2.823717373 2.830600301
2.821157182 2.850866301
2.817329531 2.870931554
2.812249524 2.890716873
2.805937211 2.910144174
2.798417504 2.929136786
2.78972008 2.947619754
2.779879262 2.965520134
2.768933889 2.982767282
2.756927157 2.999293132
2.743906451 3.015032462
2.729923157 3.029923157
2.715032462 3.043906451
2.699293132 3.056927157
2.682767282 3.068933889
2.665520134 3.079879262
2.647619754 3.08972008
2.629136786 3.098417504
2.610144174 3.105937211
2.590716873 3.112249524
2.570931554 3.117329531
2.550866301 3.121157182
2.530600301 3.123717373
2.510213536 3.125
2.510213536 5
5 5
5 0
END
3 102 4 N 538 1 1 100 100 0 0 0 Y
TLAYNAM In2.Cu_thick INH
2.725 1.55707091
2.724112028 1.571184824
2.722339588 1.585215131
2.719689675 1.59910646
2.716172747 1.612803989
2.711802685 1.626253659
2.706596734 1.63940239
2.70057544 1.652198291
2.693762566 1.664590862
2.686185 1.676531196
2.677872647 1.687972168
2.668858312 1.698868627
2.65917757 1.70917757
2.648868627 1.718858312
2.637972168 1.727872647
2.626531196 1.736185
2.614590862 1.743762566
2.602198291 1.75057544
2.58940239 1.756596734
2.576253659 1.761802685
2.562803989 1.766172747
2.54910646 1.769689675
2.535215131 1.772339588
2.521184824 1.774112028
2.50707091 1.775
2.49292909 1.775
2.478815176 1.774112028
2.464784869 1.772339588
2.45089354 1.769689675
2.437196011 1.766172747
2.423746341 1.761802685
2.41059761 1.756596734
2.397801709 1.75057544
2.385409138 1.743762566
2.373468804 1.736185
2.362027832 1.727872647
2.351131373 1.718858312
2.34082243 1.70917757
2.331141688 1.698868627
2.322127353 1.687972168
2.313815 1.676531196
2.306237434 1.664590862
2.29942456 1.652198291
2.293403266 1.63940239
2.288197315 1.626253659
2.283827253 1.612803989
2.280310325 1.59910646
2.277660412 1.585215131
2.275887972 1.571184824
2.275 1.55707091
2.275 1.54292909
2.275887972 1.528815176
2.277660412 1.514784869
2.280310325 1.50089354
2.283827253 1.487196011
2.288197315 1.473746341
2.293403266 1.46059761
2.29942456 1.447801709
2.306237434 1.435409138
2.313815 1.423468804
2.322127353 1.412027832
2.331141688 1.401131373
2.34082243 1.39082243
2.351131373 1.381141688
2.362027832 1.372127353
2.373468804 1.363815
2.385409138 1.356237434
2.397801709 1.34942456
2.41059761 1.343403266
2.423746341 1.338197315
2.437196011 1.333827253
2.45089354 1.330310325
2.464784869 1.327660412
2.478815176 1.325887972
2.49292909 1.325
2.50707091 1.325
2.521184824 1.325887972
2.535215131 1.327660412
2.54910646 1.330310325
2.562803989 1.333827253
2.576253659 1.338197315
2.58940239 1.343403266
2.602198291 1.34942456
2.614590862 1.356237434
2.626531196 1.363815
2.637972168 1.372127353
2.648868627 1.381141688
2.65917757 1.39082243
2.668858312 1.401131373
2.677872647 1.412027832
2.686185 1.423468804
2.693762566 1.435409138
2.70057544 1.447801709
2.706596734 1.46059761
2.711802685 1.473746341
2.716172747 1.487196011
2.719689675 1.50089354
2.722339588 1.514784869
2.724112028 1.528815176
2.725 1.54292909
2.725 1.55707091
2.725 1.55707091
END
3 5 4 N 467 1 1 100 100 0 0 0 Y
TLAYNAM In2.Cu_thick INH
2.625 2.85
2.724556 2.85
2.724556 2.75
2.625 2.75
2.625 2.85
END
3 102 4 N 539 1 1 100 100 0 0 0 Y
TLAYNAM In2.Cu_thick INH
2.725 3.442929
2.724112 3.428815
2.72234 3.414785
2.71969 3.400894
2.716173 3.387196
2.711803 3.373746
2.706597 3.360598
2.700575 3.347802
2.693763 3.335409
2.686185 3.323469
2.677873 3.312028
2.668858 3.301131
2.659178 3.290822
2.648869 3.281142
2.637972 3.272127
2.626531 3.263815
2.614591 3.256237
2.602198 3.249425
2.589402 3.243403
2.576254 3.238197
2.562804 3.233827
2.549106 3.23031
2.535215 3.22766
2.521185 3.225888
2.507071 3.225
2.492929 3.225
2.478815 3.225888
2.464785 3.22766
2.450894 3.23031
2.437196 3.233827
2.423746 3.238197
2.410598 3.243403
2.397802 3.249425
2.385409 3.256237
2.373469 3.263815
2.362028 3.272127
2.351131 3.281142
2.340822 3.290822
2.331142 3.301131
2.322127 3.312028
2.313815 3.323469
2.306237 3.335409
2.299425 3.347802
2.293403 3.360598
2.288197 3.373746
2.283827 3.387196
2.28031 3.400894
2.27766 3.414785
2.275888 3.428815
2.275 3.442929
2.275 3.457071
2.275888 3.471185
2.27766 3.485215
2.28031 3.499106
2.283827 3.512804
2.288197 3.526254
2.293403 3.539402
2.299425 3.552198
2.306237 3.564591
2.313815 3.576531
2.322127 3.587972
2.331142 3.598869
2.340822 3.609178
2.351131 3.618858
2.362028 3.627873
2.373469 3.636185
2.385409 3.643763
2.397802 3.650575
2.410598 3.656597
2.423746 3.661803
2.437196 3.666173
2.450894 3.66969
2.464785 3.67234
2.478815 3.674112
2.492929 3.675
2.507071 3.675
2.521185 3.674112
2.535215 3.67234
2.549106 3.66969
2.562804 3.666173
2.576254 3.661803
2.589402 3.656597
2.602198 3.650575
2.614591 3.643763
2.626531 3.636185
2.637972 3.627873
2.648869 3.618858
2.659178 3.609178
2.668858 3.598869
2.677873 3.587972
2.686185 3.576531
2.693763 3.564591
2.700575 3.552198
2.706597 3.539402
2.711803 3.526254
2.716173 3.512804
2.71969 3.499106
2.72234 3.485215
2.724112 3.471185
2.725 3.457071
2.725 3.442929
2.725 3.442929
END
3 5 4 N 206 1 1 100 100 0 0 0 Y
TLAYNAM In2.Cu_thick INH
2.625 2.15
2.724556014 2.15
2.724556014 2.25
2.625 2.25
2.625 2.15
END
3 5 4 N 468 1 1 100 100 0 0 0 Y
TLAYNAM In2.Cu_thick INH
2.724556 2.85
2.724556 2.75
5 2.75
5 2.85
2.724556 2.85
END
3 102 4 N 238 1 1 100 100 0 0 0 Y
TLAYNAM In2.Cu_thick INH
2.725 2.20707091
2.724112028 2.221184824
2.722339588 2.235215131
2.719689675 2.24910646
2.716172747 2.262803989
2.711802685 2.276253659
2.706596734 2.28940239
2.70057544 2.302198291
2.693762566 2.314590862
2.686185 2.326531196
2.677872647 2.337972168
2.668858312 2.348868627
2.65917757 2.35917757
2.648868627 2.368858312
2.637972168 2.377872647
2.626531196 2.386185
2.614590862 2.393762566
2.602198291 2.40057544
2.58940239 2.406596734
2.576253659 2.411802685
2.562803989 2.416172747
2.54910646 2.419689675
2.535215131 2.422339588
2.521184824 2.424112028
2.50707091 2.425
2.49292909 2.425
2.478815176 2.424112028
2.464784869 2.422339588
2.45089354 2.419689675
2.437196011 2.416172747
2.423746341 2.411802685
2.41059761 2.406596734
2.397801709 2.40057544
2.385409138 2.393762566
2.373468804 2.386185
2.362027832 2.377872647
2.351131373 2.368858312
2.34082243 2.35917757
2.331141688 2.348868627
2.322127353 2.337972168
2.313815 2.326531196
2.306237434 2.314590862
2.29942456 2.302198291
2.293403266 2.28940239
2.288197315 2.276253659
2.283827253 2.262803989
2.280310325 2.24910646
2.277660412 2.235215131
2.275887972 2.221184824
2.275 2.20707091
2.275 2.19292909
2.275887972 2.178815176
2.277660412 2.164784869
2.280310325 2.15089354
2.283827253 2.137196011
2.288197315 2.123746341
2.293403266 2.11059761
2.29942456 2.097801709
2.306237434 2.085409138
2.313815 2.073468804
2.322127353 2.062027832
2.331141688 2.051131373
2.34082243 2.04082243
2.351131373 2.031141688
2.362027832 2.022127353
2.373468804 2.013815
2.385409138 2.006237434
2.397801709 1.99942456
2.41059761 1.993403266
2.423746341 1.988197315
2.437196011 1.983827253
2.45089354 1.980310325
2.464784869 1.977660412
2.478815176 1.975887972
2.49292909 1.975
2.50707091 1.975
2.521184824 1.975887972
2.535215131 1.977660412
2.54910646 1.980310325
2.562803989 1.983827253
2.576253659 1.988197315
2.58940239 1.993403266
2.602198291 1.99942456
2.614590862 2.006237434
2.626531196 2.013815
2.637972168 2.022127353
2.648868627 2.031141688
2.65917757 2.04082243
2.668858312 2.051131373
2.677872647 2.062027832
2.686185 2.073468804
2.693762566 2.085409138
2.70057544 2.097801709
2.706596734 2.11059761
2.711802685 2.123746341
2.716172747 2.137196011
2.719689675 2.15089354
2.722339588 2.164784869
2.724112028 2.178815176
2.725 2.19292909
2.725 2.20707091
2.725 2.20707091
END
3 102 4 N 469 1 1 100 100 0 0 0 Y
TLAYNAM In2.Cu_thick INH
2.725 2.792929
2.724112 2.778815
2.72234 2.764785
2.71969 2.750894
2.716173 2.737196
2.711803 2.723746
2.706597 2.710598
2.700575 2.697802
2.693763 2.685409
2.686185 2.673469
2.677873 2.662028
2.668858 2.651131
2.659178 2.640822
2.648869 2.631142
2.637972 2.622127
2.626531 2.613815
2.614591 2.606237
2.602198 2.599425
2.589402 2.593403
2.576254 2.588197
2.562804 2.583827
2.549106 2.58031
2.535215 2.57766
2.521185 2.575888
2.507071 2.575
2.492929 2.575
2.478815 2.575888
2.464785 2.57766
2.450894 2.58031
2.437196 2.583827
2.423746 2.588197
2.410598 2.593403
2.397802 2.599425
2.385409 2.606237
2.373469 2.613815
2.362028 2.622127
2.351131 2.631142
2.340822 2.640822
2.331142 2.651131
2.322127 2.662028
2.313815 2.673469
2.306237 2.685409
2.299425 2.697802
2.293403 2.710598
2.288197 2.723746
2.283827 2.737196
2.28031 2.750894
2.27766 2.764785
2.275888 2.778815
2.275 2.792929
2.275 2.807071
2.275888 2.821185
2.27766 2.835215
2.28031 2.849106
2.283827 2.862804
2.288197 2.876254
2.293403 2.889402
2.299425 2.902198
2.306237 2.914591
2.313815 2.926531
2.322127 2.937972
2.331142 2.948869
2.340822 2.959178
2.351131 2.968858
2.362028 2.977873
2.373469 2.986185
2.385409 2.993763
2.397802 3.000575
2.410598 3.006597
2.423746 3.011803
2.437196 3.016173
2.450894 3.01969
2.464785 3.02234
2.478815 3.024112
2.492929 3.025
2.507071 3.025
2.521185 3.024112
2.535215 3.02234
2.549106 3.01969
2.562804 3.016173
2.576254 3.011803
2.589402 3.006597
2.602198 3.000575
2.614591 2.993763
2.626531 2.986185
2.637972 2.977873
2.648869 2.968858
2.659178 2.959178
2.668858 2.948869
2.677873 2.937972
2.686185 2.926531
2.693763 2.914591
2.700575 2.902198
2.706597 2.889402
2.711803 2.876254
2.716173 2.862804
2.71969 2.849106
2.72234 2.835215
2.724112 2.821185
2.725 2.807071
2.725 2.792929
2.725 2.792929
END
3 5 4 N 361 1 1 100 100 0 0 0 Y
TLAYNAM In2.Cu_thick INH
2.724556014 2.15
2.724556014 2.25
5 2.25
5 2.15
2.724556014 2.15
END
7 186 0 N 478 1 1 100 100 0 0 0 Y
TLAYNAM In6.Cu INH
5 0
0 0
0 5
2.510213536 5
2.510213536 3.125
2.489786464 3.125
2.469399699 3.123717373
2.449133699 3.121157182
2.429068446 3.117329531
2.409283127 3.112249524
2.389855826 3.105937211
2.370863214 3.098417504
2.352380246 3.08972008
2.334479866 3.079879262
2.317232718 3.068933889
2.300706868 3.056927157
2.284967538 3.043906451
2.270076843 3.029923157
2.256093549 3.015032462
2.243072843 2.999293132
2.231066111 2.982767282
2.220120738 2.965520134
2.21027992 2.947619754
2.201582496 2.929136786
2.194062789 2.910144174
2.187750476 2.890716873
2.182670469 2.870931554
2.178842818 2.850866301
2.176282627 2.830600301
2.175 2.810213536
2.175 2.789786464
2.176282627 2.769399699
2.178842818 2.749133699
2.182670469 2.729068446
2.187750476 2.709283127
2.194062789 2.689855826
2.201582496 2.670863214
2.21027992 2.652380246
2.220120738 2.634479866
2.231066111 2.617232718
2.243072843 2.600706868
2.256093549 2.584967538
2.270076843 2.570076843
2.284967538 2.556093549
2.300706868 2.543072843
2.317232718 2.531066111
2.334479866 2.520120738
2.352380246 2.51027992
2.370863214 2.501582496
2.374860142 2.5
2.370863214 2.498417504
2.352380246 2.48972008
2.334479866 2.479879262
2.317232718 2.468933889
2.300706868 2.456927157
2.284967538 2.443906451
2.270076843 2.429923157
2.256093549 2.415032462
2.243072843 2.399293132
2.231066111 2.382767282
2.220120738 2.365520134
2.21027992 2.347619754
2.201582496 2.329136786
2.194062789 2.310144174
2.187750476 2.290716873
2.182670469 2.270931554
2.178842818 2.250866301
2.176282627 2.230600301
2.175 2.210213536
2.175 2.189786464
2.176282627 2.169399699
2.178842818 2.149133699
2.182670469 2.129068446
2.187750476 2.109283127
2.194062789 2.089855826
2.201582496 2.070863214
2.21027992 2.052380246
2.220120738 2.034479866
2.231066111 2.017232718
2.243072843 2.000706868
2.256093549 1.984967538
2.270076843 1.970076843
2.284967538 1.956093549
2.300706868 1.943072843
2.317232718 1.931066111
2.334479866 1.920120738
2.352380246 1.91027992
2.370863214 1.901582496
2.389855826 1.894062789
2.409283127 1.887750476
2.429068446 1.882670469
2.449133699 1.878842818
2.469399699 1.876282627
2.489786464 1.875
2.510213536 1.875
2.530600301 1.876282627
2.550866301 1.878842818
2.570931554 1.882670469
2.590716873 1.887750476
2.610144174 1.894062789
2.629136786 1.901582496
2.647619754 1.91027992
2.665520134 1.920120738
2.682767282 1.931066111
2.699293132 1.943072843
2.715032462 1.956093549
2.729923157 1.970076843
2.743906451 1.984967538
2.756927157 2.000706868
2.768933889 2.017232718
2.779879262 2.034479866
2.78972008 2.052380246
2.798417504 2.070863214
2.805937211 2.089855826
2.812249524 2.109283127
2.817329531 2.129068446
2.821157182 2.149133699
2.823717373 2.169399699
2.825 2.189786464
2.825 2.210213536
2.823717373 2.230600301
2.821157182 2.250866301
2.817329531 2.270931554
2.812249524 2.290716873
2.805937211 2.310144174
2.798417504 2.329136786
2.78972008 2.347619754
2.779879262 2.365520134
2.768933889 2.382767282
2.756927157 2.399293132
2.743906451 2.415032462
2.729923157 2.429923157
2.715032462 2.443906451
2.699293132 2.456927157
2.682767282 2.468933889
2.665520134 2.479879262
2.647619754 2.48972008
2.629136786 2.498417504
2.625139858 2.5
2.629136786 2.501582496
2.647619754 2.51027992
2.665520134 2.520120738
2.682767282 2.531066111
2.699293132 2.543072843
2.715032462 2.556093549
2.729923157 2.570076843
2.743906451 2.584967538
2.756927157 2.600706868
2.768933889 2.617232718
2.779879262 2.634479866
2.78972008 2.652380246
2.798417504 2.670863214
2.805937211 2.689855826
2.812249524 2.709283127
2.817329531 2.729068446
2.821157182 2.749133699
2.823717373 2.769399699
2.825 2.789786464
2.825 2.810213536
2.823717373 2.830600301
2.821157182 2.850866301
2.817329531 2.870931554
2.812249524 2.890716873
2.805937211 2.910144174
2.798417504 2.929136786
2.78972008 2.947619754
2.779879262 2.965520134
2.768933889 2.982767282
2.756927157 2.999293132
2.743906451 3.015032462
2.729923157 3.029923157
2.715032462 3.043906451
2.699293132 3.056927157
2.682767282 3.068933889
2.665520134 3.079879262
2.647619754 3.08972008
2.629136786 3.098417504
2.610144174 3.105937211
2.590716873 3.112249524
2.570931554 3.117329531
2.550866301 3.121157182
2.530600301 3.123717373
2.510213536 3.125
2.510213536 5
5 5
5 0
END
7 102 0 N 479 1 1 100 100 0 0 0 Y
TLAYNAM In6.Cu INH
2.725 2.792929
2.724112 2.778815
2.72234 2.764785
2.71969 2.750894
2.716173 2.737196
2.711803 2.723746
2.706597 2.710598
2.700575 2.697802
2.693763 2.685409
2.686185 2.673469
2.677873 2.662028
2.668858 2.651131
2.659178 2.640822
2.648869 2.631142
2.637972 2.622127
2.626531 2.613815
2.614591 2.606237
2.602198 2.599425
2.589402 2.593403
2.576254 2.588197
2.562804 2.583827
2.549106 2.58031
2.535215 2.57766
2.521185 2.575888
2.507071 2.575
2.492929 2.575
2.478815 2.575888
2.464785 2.57766
2.450894 2.58031
2.437196 2.583827
2.423746 2.588197
2.410598 2.593403
2.397802 2.599425
2.385409 2.606237
2.373469 2.613815
2.362028 2.622127
2.351131 2.631142
2.340822 2.640822
2.331142 2.651131
2.322127 2.662028
2.313815 2.673469
2.306237 2.685409
2.299425 2.697802
2.293403 2.710598
2.288197 2.723746
2.283827 2.737196
2.28031 2.750894
2.27766 2.764785
2.275888 2.778815
2.275 2.792929
2.275 2.807071
2.275888 2.821185
2.27766 2.835215
2.28031 2.849106
2.283827 2.862804
2.288197 2.876254
2.293403 2.889402
2.299425 2.902198
2.306237 2.914591
2.313815 2.926531
2.322127 2.937972
2.331142 2.948869
2.340822 2.959178
2.351131 2.968858
2.362028 2.977873
2.373469 2.986185
2.385409 2.993763
2.397802 3.000575
2.410598 3.006597
2.423746 3.011803
2.437196 3.016173
2.450894 3.01969
2.464785 3.02234
2.478815 3.024112
2.492929 3.025
2.507071 3.025
2.521185 3.024112
2.535215 3.02234
2.549106 3.01969
2.562804 3.016173
2.576254 3.011803
2.589402 3.006597
2.602198 3.000575
2.614591 2.993763
2.626531 2.986185
2.637972 2.977873
2.648869 2.968858
2.659178 2.959178
2.668858 2.948869
2.677873 2.937972
2.686185 2.926531
2.693763 2.914591
2.700575 2.902198
2.706597 2.889402
2.711803 2.876254
2.716173 2.862804
2.71969 2.849106
2.72234 2.835215
2.724112 2.821185
2.725 2.807071
2.725 2.792929
2.725 2.792929
END
7 102 0 N 480 1 1 100 100 0 0 0 Y
TLAYNAM In6.Cu INH
2.725 2.20707091
2.724112028 2.221184824
2.722339588 2.235215131
2.719689675 2.24910646
2.716172747 2.262803989
2.711802685 2.276253659
2.706596734 2.28940239
2.70057544 2.302198291
2.693762566 2.314590862
2.686185 2.326531196
2.677872647 2.337972168
2.668858312 2.348868627
2.65917757 2.35917757
2.648868627 2.368858312
2.637972168 2.377872647
2.626531196 2.386185
2.614590862 2.393762566
2.602198291 2.40057544
2.58940239 2.406596734
2.576253659 2.411802685
2.562803989 2.416172747
2.54910646 2.419689675
2.535215131 2.422339588
2.521184824 2.424112028
2.50707091 2.425
2.49292909 2.425
2.478815176 2.424112028
2.464784869 2.422339588
2.45089354 2.419689675
2.437196011 2.416172747
2.423746341 2.411802685
2.41059761 2.406596734
2.397801709 2.40057544
2.385409138 2.393762566
2.373468804 2.386185
2.362027832 2.377872647
2.351131373 2.368858312
2.34082243 2.35917757
2.331141688 2.348868627
2.322127353 2.337972168
2.313815 2.326531196
2.306237434 2.314590862
2.29942456 2.302198291
2.293403266 2.28940239
2.288197315 2.276253659
2.283827253 2.262803989
2.280310325 2.24910646
2.277660412 2.235215131
2.275887972 2.221184824
2.275 2.20707091
2.275 2.19292909
2.275887972 2.178815176
2.277660412 2.164784869
2.280310325 2.15089354
2.283827253 2.137196011
2.288197315 2.123746341
2.293403266 2.11059761
2.29942456 2.097801709
2.306237434 2.085409138
2.313815 2.073468804
2.322127353 2.062027832
2.331141688 2.051131373
2.34082243 2.04082243
2.351131373 2.031141688
2.362027832 2.022127353
2.373468804 2.013815
2.385409138 2.006237434
2.397801709 1.99942456
2.41059761 1.993403266
2.423746341 1.988197315
2.437196011 1.983827253
2.45089354 1.980310325
2.464784869 1.977660412
2.478815176 1.975887972
2.49292909 1.975
2.50707091 1.975
2.521184824 1.975887972
2.535215131 1.977660412
2.54910646 1.980310325
2.562803989 1.983827253
2.576253659 1.988197315
2.58940239 1.993403266
2.602198291 1.99942456
2.614590862 2.006237434
2.626531196 2.013815
2.637972168 2.022127353
2.648868627 2.031141688
2.65917757 2.04082243
2.668858312 2.051131373
2.677872647 2.062027832
2.686185 2.073468804
2.693762566 2.085409138
2.70057544 2.097801709
2.706596734 2.11059761
2.711802685 2.123746341
2.716172747 2.137196011
2.719689675 2.15089354
2.722339588 2.164784869
2.724112028 2.178815176
2.725 2.19292909
2.725 2.20707091
2.725 2.20707091
END
END GEO
OPT
MAX 100
END OPT
VARSWP
ENABLED Y
FREQ Y AY ABS_ENTRY 0.001 16.0 -1 300 
END
END VARSWP
```
